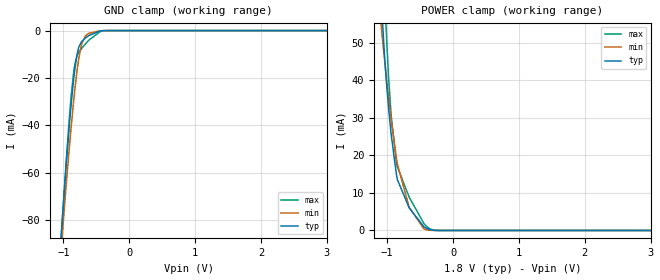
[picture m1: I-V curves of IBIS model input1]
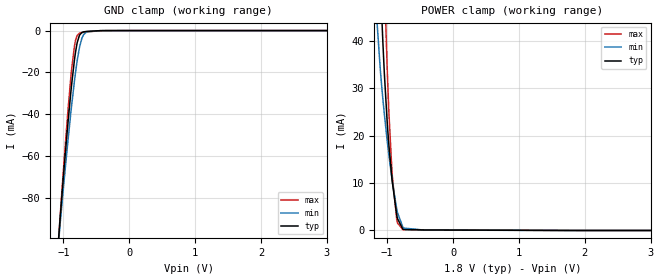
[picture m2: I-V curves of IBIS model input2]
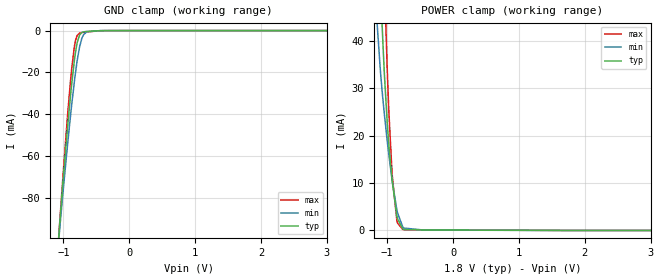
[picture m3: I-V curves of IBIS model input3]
|Texas Instruments Incorporated
|ADC36XX
[IBIS Ver]   4.1
[File name]   adc36xx.ibs
[Date]   06/25/2018
[File Rev]   1.0
[Source]
| Texas Instruments Incorporated.
| Analog-eLab Design Center, HPA
| 12500 TI Blvd
| Dallas, TX -75243
[Notes]   Revision History:
| Rev 1.0: 06/25/2018
| - Initial version of the model
| - Model generated from simulations in SPECTRE
| - Warnings regarding combined Non-monotonicity of various models
|   have been reviewed and considered minor and can be ignored.
| - For diffin model, use suitable (100Ohms, 135Ohms, 200Ohms, 400Ohms) termination
|   externally, as internal termination is disabled.
| - C_comp although listed in numerical order of value are
|   obtained from varying PVT conditions. For PVT conditions for
|   each specific value refer the buffer description under
|   respective [Model]. IBIS model user is responsible for using
|   appropriate C_comp to simulate for Signal Integrity.
[Disclaimer]
| This model is designed as an aid for customers of Texas Instruments.
| TI and its licensors and suppliers make no warranties, either expressed
| or implied, with respect to this  model, including the warranties of
| merchantability or fitness for a particular purpose. The model is
| provided solely on an "as is" basis. The entire risk as to its quality
| and performance is with the customer.
| This model is subject to change without notice. Texas Instruments
| Incorporated is not responsible for updating this model.
[Copyright]
(C) Copyright 2018 Texas Instruments Incorporated.All rights reserved.
|  Component ADC3644RSB 40-pin WQFN - RSB package
|  Part # ADC3644RSB
[Component]   ADC3644RSB
[Manufacturer]  TI
[Package]   |40 WQFN- RSB package
|   typ   min   max
R_pkg   0.1   0.08   0.12
L_pkg   1.0nH   0.8nH   1.2nH
C_pkg   0.2pF   0.16pF   0.24pF
[Pin]  signal_name model_name   R_pin   L_pin   C_pin
1   PDN/SYNC   input3   NA   NA   NA
2   VREF   nc   NA   NA   NA
3   REFGND   nc   NA   NA   NA
4   REFBUF   nc   NA   NA   NA
5   VDDA   power   NA   NA   NA
6   CLKP   diffin   NA   NA   NA
7   CLKM   diffin   NA   NA   NA
8   VCM   nc   NA   NA   NA
9   RESET   input2   NA   NA   NA
10   SDIO   io   NA   NA   NA
11   GND   gnd   NA   NA   NA
12   AINP   nc   NA   NA   NA
13   AINM   nc   NA   NA   NA
14   GND   gnd   NA   NA   NA
15   VDDA   power   NA   NA   NA
16   SEN   input2   NA   NA   NA
17   DA0   output   NA   NA   NA
18   DA1   output   NA   NA   NA
19   DA2   output   NA   NA   NA
20   IOVDD   power   NA   NA   NA
21   DA3   output   NA   NA   NA
22   DA4   output   NA   NA   NA
23   DA5   output   NA   NA   NA
24   DA6   output   NA   NA   NA
25   DCLK   output   NA   NA   NA
26   IOGND   gnd   NA   NA   NA
27   DB6   output   NA   NA   NA
28   DB5   output   NA   NA   NA
29   DB4   output   NA   NA   NA
30   DB3   output   NA   NA   NA
31   IOVDD   power   NA   NA   NA
32   DB2   output   NA   NA   NA
33   DB1   db1   NA   NA   NA
34   DB0   output   NA   NA   NA
35   SCLK   input2   NA   NA   NA
36   VDDA   power   NA   NA   NA
37   GND   gnd   NA   NA   NA
38   BINM   nc   NA   NA   NA
39   BINP   nc   NA   NA   NA
40   GND   gnd   NA   NA   NA
[Diff pin]  inv_pin  vdiff  tdelay_typ  tdelay_min  tdelay_max
6   7   0.1   0.0s   0.0s   0.0s
|  Component ADC3683RSB 40-pin WQFN - RSB package
|  Part # ADC3683RSB
[Component]   ADC3683RSB
[Manufacturer]  TI
[Package]   |40 WQFN- RSB package
|   typ   min   max
R_pkg   0.1   0.08   0.12
L_pkg   1.0nH   0.8nH   1.2nH
C_pkg   0.2pF   0.16pF   0.24pF
[Pin]  signal_name model_name   R_pin   L_pin   C_pin
1   PDN/SYNC   input3   NA   NA   NA
2   VREF   nc   NA   NA   NA
3   REFGND   nc   NA   NA   NA
4   REFBUF   nc   NA   NA   NA
5   VDDA   power   NA   NA   NA
6   CLKP   diffin   NA   NA   NA
7   CLKM   diffin   NA   NA   NA
8   VCM   nc   NA   NA   NA
9   RESET   input2   NA   NA   NA
10   SDIO   io   NA   NA   NA
11   GND   gnd   NA   NA   NA
12   AINP   nc   NA   NA   NA
13   AINM   nc   NA   NA   NA
14   GND   gnd   NA   NA   NA
15   VDDA   power   NA   NA   NA
16   SEN   input2   NA   NA   NA
17   DA1M   diffout   NA   NA   NA
18   DA1P   diffout   NA   NA   NA
19   DA0M   diffout   NA   NA   NA
20   DA0P   diffout   NA   NA   NA
21   IOVDD   power   NA   NA   NA
22   DCLKM   diffout   NA   NA   NA
23   DCLKP   diffout   NA   NA   NA
24   DCLKINM   diffin   NA   NA   NA
25   DCLKINP   diffin   NA   NA   NA
26   IOGND   gnd   NA   NA   NA
27   NC   nc   NA   NA   NA
28   FCLKP   diffout   NA   NA   NA
29   FCLKM   diffout   NA   NA   NA
30   IOVDD   power   NA   NA   NA
31   DB0P   diffout   NA   NA   NA
32   DB0M   diffout   NA   NA   NA
33   DB1P   diffout   NA   NA   NA
34   DB1M   diffout   NA   NA   NA
35   SCLK   input2   NA   NA   NA
36   VDDA   power   NA   NA   NA
37   GND   gnd   NA   NA   NA
38   BINM   nc   NA   NA   NA
39   BINP   nc   NA   NA   NA
40   GND   gnd   NA   NA   NA
[Diff pin]  inv_pin  vdiff  tdelay_typ  tdelay_min  tdelay_max
6   7   0.1   0.0s   0.0s   0.0s
18   17   0.0   0.0s   0.0s   0.0s
20   19   0.0   0.0s   0.0s   0.0s
23   22   0.0   0.0s   0.0s   0.0s
25   24   0.1   0.0s   0.0s   0.0s
28   29   0.0   0.0s   0.0s   0.0s
31   32   0.0   0.0s   0.0s   0.0s
33   34   0.0   0.0s   0.0s   0.0s
|   Model Selectors
[Model Selector] db1
output   1.8V   digital Output   |CMOS output
input1   1.8V   digital Input   |DCLKIN in QDR CMOS output mode
| Models and submodels in the file (7): input1 (Input), input2 (Input), input3 (Input), output (3-state), io (I/O), diffin (Input), diffout (3-state)
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|   input1 Model
[Model]   input1
Model_type   Input
Vinl = 0.54
Vinh = 1.26
|   typ   min   max
C_comp   1.2750E-12   1.1847E-12   1.3603E-12
[Model spec]
|subparameter
Vinl   0.54   0.51   0.57
Vinh   1.26   1.19   1.33
| Where Nom  PVT is Nominal Process, 1.8V, 25C
|   Fast PVT is Strong Process,  1.9V, -40C
|   Slow PVT is Weak Process,   1.7V, 125C
[Voltage Range]   1.8   1.7   1.9
|Junction Temperature
[Temperature Range]   25   125   -40
[Power Clamp Reference]   1.8   1.7   1.9
[GND Clamp Reference]   0   0   0
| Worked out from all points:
|   GND clamp passes 1 mA (typ) near -0.52 V on its own axis
|   POWER clamp passes 1 mA (typ) near -0.44 V on its own axis
[GND Clamp]
|   Voltage   I(typ)   I(min)   I(max)
-1.8V     -446.2mA   -421mA     -465.8mA
-1.033V   -86.23mA   -91.75mA   -87.02mA
-1.022V   -81.81mA   -87.82mA   -82.25mA
-957.6mV  -56.54mA   -65mA      -54.91mA
-909mV    -39.46mA   -48.93mA   -36.46mA
-844.2mV  -20.41mA   -29.54mA   -17.37mA
-790.2mV  -9.624mA   -16.23mA   -10.36mA
-725.4mV  -4.7mA     -5.96mA    -7.604mA
-666mV    -3.147mA   -2.288mA   -5.646mA
-612mV    -2.071mA   -1.138mA   -3.988mA
-347.4mV  -10.77uA   -12.58uA   -25.42uA
3.6V      0A         0A         0A
[POWER Clamp]
|   Voltage   I(typ)   I(min)   I(max)
-1.8V     466.1mA    367.4mA    540.1mA
-1.087V   60.78mA    53.73mA    86.86mA
-1.076V   57.18mA    51.74mA    81.35mA
-1.044V   47.53mA    46.02mA    65.83mA
-1.017V   40.71mA    41.47mA    54.33mA
-979.2mV  32.63mA    35.42mA    40.93mA
-941.4mV  25.83mA    29.74mA    30.84mA
-860.4mV  14.96mA    19.29mA    18.15mA
-666mV    6.001mA    6.168mA    8.864mA
-444.6mV  1.038mA    451.7uA    1.909mA
-234mV    9.1uA      4.464uA    16.64uA
3.6V      0A         0A         0A
|   input2 Model
[Model]   input2
Model_type   Input
Vinl = 0.54
Vinh = 1.26
|   typ   min   max
C_comp   4.9847E-13   3.9962E-13   5.9108E-13
[Model spec]
|subparameter
Vinl   0.54   0.51   0.57
Vinh   1.26   1.19   1.33
| Where Nom  PVT is Nominal Process, 1.8V, 25C
|   Fast PVT is Strong Process,  1.9V, -40C
|   Slow PVT is Weak Process,   1.7V, 125C
[Voltage Range]   1.8   1.7   1.9
|Junction Temperature
[Temperature Range]   25   125   -40
[Power Clamp Reference]   1.8   1.7   1.9
[GND Clamp Reference]   0   0   0
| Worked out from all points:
|   GND clamp passes 1 mA (typ) near -0.72 V on its own axis
|   POWER clamp passes 1 mA (typ) near -0.79 V on its own axis
[GND Clamp]
|   Voltage   I(typ)   I(min)   I(max)
-1.8V     -431.3mA   -402.8mA   -451.8mA
-1.157V   -135.4mA   -132.2mA   -138.3mA
-1.049V   -89.49mA   -92.3mA    -88.47mA
-936mV    -45.79mA   -54.13mA   -40.05mA
-876.6mV  -26.08mA   -36.07mA   -18.75mA
-817.2mV  -10.45mA   -20.2mA    -4.796mA
-790.2mV  -5.654mA   -14.14mA   -2.286mA
-757.8mV  -2.35mA    -8.256mA   -1.287mA
-714.6mV  -844.1uA   -3.263mA   -924.7uA
-644.4mV  -380.5uA   -585.2uA   -640.5uA
-444.6mV  -44.87uA   -33.81uA   -93.47uA
3.6V      0A         0A         0A
[POWER Clamp]
|   Voltage   I(typ)   I(min)   I(max)
-1.8V     450.6mA    344.7mA    527.5mA
-1.174V   83.39mA    47.75mA    124.2mA
-1.103V   52.89mA    33.61mA    84.09mA
-1.076V   43.16mA    29.29mA    69.66mA
-1.071V   41.37mA    28.47mA    66.86mA
-1.044V   33.25mA    24.62mA    53.44mA
-1.001V   22.95mA    19.02mA    34.48mA
-973.8mV  17.87mA    15.8mA     24.72mA
-925.2mV  10.53mA    10.53mA    11.83mA
-855mV    3.241mA    4.482mA    2.259mA
-763.2mV  288.9uA    726.4uA    194.6uA
3.6V      0A         0A         0A
|   input3 Model
[Model]   input3
Model_type   Input
Vinl = 0.54
Vinh = 1.26
|   typ   min   max
C_comp   4.8713E-13   4.0704E-13   5.7232E-13
[Model spec]
|subparameter
Vinl   0.54   0.51   0.57
Vinh   1.26   1.19   1.33
| Where Nom  PVT is Nominal Process, 1.8V, 25C
|   Fast PVT is Strong Process,  1.9V, -40C
|   Slow PVT is Weak Process,   1.7V, 125C
[Voltage Range]   1.8   1.7   1.9
|Junction Temperature
[Temperature Range]   25   125   -40
[Power Clamp Reference]   1.8   1.7   1.9
[GND Clamp Reference]   0   0   0
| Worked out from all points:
|   GND clamp passes 1 mA (typ) near -0.72 V on its own axis
|   POWER clamp passes 1 mA (typ) near -0.79 V on its own axis
[GND Clamp]
|   Voltage   I(typ)   I(min)   I(max)
-1.8V     -431.3mA   -402.8mA   -451.8mA
-1.157V   -135.4mA   -132.2mA   -138.3mA
-1.049V   -89.49mA   -92.3mA    -88.47mA
-936mV    -45.79mA   -54.13mA   -40.05mA
-876.6mV  -26.08mA   -36.07mA   -18.75mA
-817.2mV  -10.45mA   -20.2mA    -4.796mA
-790.2mV  -5.654mA   -14.14mA   -2.286mA
-757.8mV  -2.35mA    -8.256mA   -1.287mA
-714.6mV  -844.1uA   -3.263mA   -924.7uA
-644.4mV  -380.5uA   -585.2uA   -640.5uA
-444.6mV  -44.86uA   -33.81uA   -93.47uA
3.6V      0A         0A         0A
[POWER Clamp]
|   Voltage   I(typ)   I(min)   I(max)
-1.8V     450.6mA    344.7mA    527.5mA
-1.174V   83.39mA    47.75mA    124.2mA
-1.103V   52.89mA    33.61mA    84.09mA
-1.076V   43.16mA    29.29mA    69.66mA
-1.071V   41.37mA    28.47mA    66.86mA
-1.044V   33.25mA    24.62mA    53.44mA
-1.001V   22.95mA    19.02mA    34.48mA
-973.8mV  17.87mA    15.8mA     24.72mA
-925.2mV  10.53mA    10.53mA    11.83mA
-855mV    3.241mA    4.482mA    2.259mA
-763.2mV  288.9uA    726.4uA    194.6uA
3.6V      0A         0A         0A
